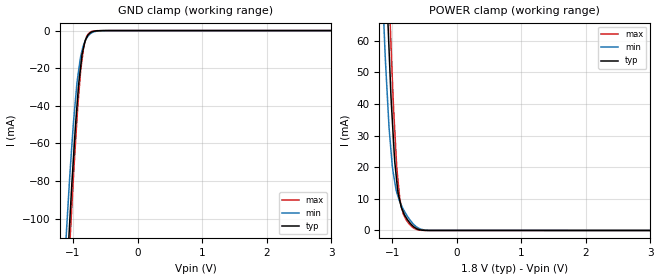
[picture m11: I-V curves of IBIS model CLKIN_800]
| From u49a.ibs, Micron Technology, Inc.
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|   MODEL CLKIN_800
[Model]   CLKIN_800
Model_type   Input
Vinl = 650.000mV
Vinh = 1.150V
|   typ   min   max
C_comp   1.387pF   1.204pF   1.570pF
[Model Spec]
| Input threshold voltage corners
Vinl   0.700V   0.650V   0.750V
Vinh   1.100V   1.050V   1.150V
[Receiver Thresholds]
Vth   =  0.900V
Vth_min  =  0.882V
Vth_max  =  0.918V
Vinh_ac  =  0.200V
Vinh_dc  =  0.125V
Vinl_ac  = -0.200V
Vinl_dc  = -0.125V
Tslew_ac =  5.000ns |Not specified, so set to high value
Threshold_sensitivity = 0.50
Reference_supply Pullup_ref
|[Receiver Thresholds]
|Vcross_low   = 0.675V
|Vcross_high  = 1.125V
|Vdiff_ac   = 500mV
|Vdiff_dc   = 250mV
|Tdiffslew_ac = 5.000ns |Not specified, so set to high value
[Voltage Range]   1.800V   1.700V   1.900V
[Pullup Reference]   1.800V   1.700V   1.900V
| Junction Temperature (Ambient temp is 25C typ, 85C min, 0C max)
[Temperature Range]   40.0   100.0   0.0
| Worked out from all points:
|   GND clamp passes 1 mA (typ) near -0.73 V on its own axis
|   POWER clamp passes 1 mA (typ) near -0.66 V on its own axis
[GND Clamp]
|   Voltage   I(typ)   I(min)   I(max)
-1.8V     -644.2mA   -598mA     -669.6mA
-1.11V    -139.1mA   -111.3mA   -153.8mA
-1.1V     -132.4mA   -105.5mA   -147.1mA
-1.08V    -119.5mA   -94.06mA   -133.6mA
-1.05V    -100.8mA   -76.83mA   -113.4mA
-1.04V    -94.62mA   -71.81mA   -107mA
-1V       -71.08mA   -51.75mA   -81.81mA
-940mV    -40.34mA   -28mA      -47.49mA
-880mV    -18.46mA   -13.5mA    -20.61mA
-830mV    -7.979mA   -6.928mA   -7.716mA
-740mV    -1.298mA   -1.903mA   -945.6uA
3.6V      0A         0A         0A
[POWER Clamp]
|   Voltage   I(typ)   I(min)   I(max)
-1.8V     570.2mA    510.4mA    604.5mA
-1.15V    112.7mA    75.3mA     136.8mA
-1.11V    89.26mA    55.51mA    111.1mA
-1.08V    72.47mA    44mA       92.94mA
-1.04V    52.48mA    30.2mA     69.49mA
-1.02V    42.48mA    25.39mA    59.07mA
-960mV    21.5mA     15.25mA    31.29mA
-930mV    15.51mA    12.05mA    19.92mA
-880mV    9.158mA    8.927mA    9.647mA
-790mV    4.28mA     5.314mA    3.574mA
-660mV    1.056mA    1.761mA    672.1uA
3.6V      0A         0A         0A
